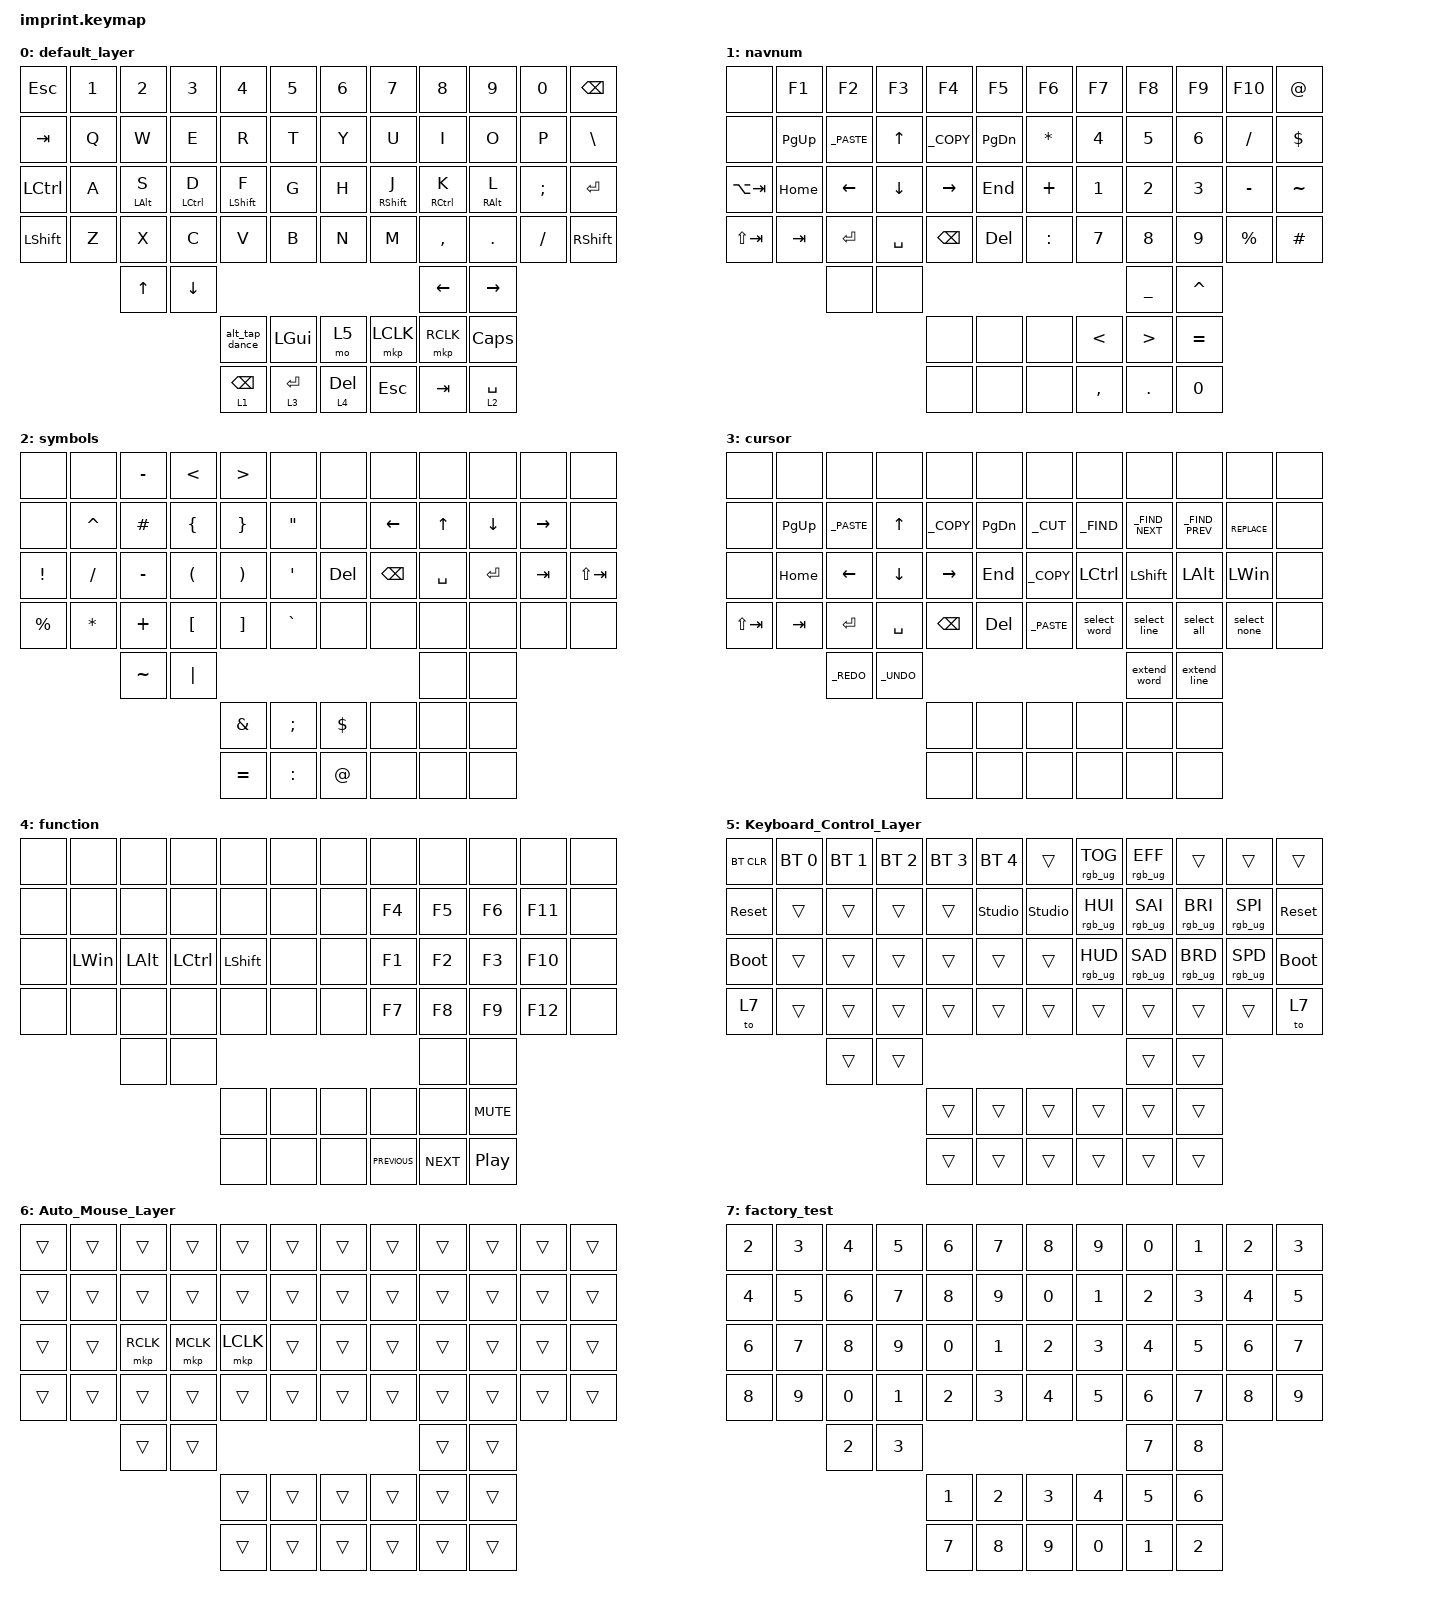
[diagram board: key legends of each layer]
#include <input/processors.dtsi>
#include <dt-bindings/zmk/input_transform.h>
#include <behaviors.dtsi>
#include <dt-bindings/zmk/bt.h>
#include <dt-bindings/zmk/keys.h>
#include <dt-bindings/zmk/pointing.h>
#include <dt-bindings/zmk/rgb.h>

#include "defs.dtsi"

/ {
    behaviors {
        home_row_mod_left: home_row_mod_left {
            compatible = "zmk,behavior-hold-tap";
            label = "HOME_ROW_MOD_LEFT";
            bindings = <&kp>, <&kp>;

            #binding-cells = <2>;
            tapping-term-ms = <200>;
            flavor = "tap-preferred";
            hold-trigger-key-positions = <5 6 7 8 9 16 17 18 19 20 21 28 29 30 31 32 33 40 41 42 43 44 45 56 57 58 59 60 61 62 63 72 73 74 75 76 77 78 79 55 38 37 36 35>;
        };

        home_row_mod_right: home_row_mod_right {
            compatible = "zmk,behavior-hold-tap";
            label = "HOME_ROW_MOD_RIGHT";
            bindings = <&kp>, <&kp>;

            #binding-cells = <2>;
            tapping-term-ms = <200>;
            flavor = "tap-preferred";
            hold-trigger-key-positions = <0 1 2 3 4 10 11 12 13 14 15 22 23 24 25 26 27 34 35 36 37 38 39 46 47 48 49 50 51 52 53 54 64 65 66 67 68 69 70 71 41 42 43 44>;
        };

        thumb_layer: thumb_layer {
            compatible = "zmk,behavior-hold-tap";
            label = "THUMB_LAYER";
            bindings = <&mo>, <&kp>;

            #binding-cells = <2>;
            tapping-term-ms = <200>;
            quick-tap-ms = <200>;
            flavor = "balanced";
        };
    };

    macros {
        //------------------------------------------------------------------------
        //
        // Cursor macros
        //
        //------------------------------------------------------------------------
        //
        // SELECT_WORD_DELAY defines how long the macro waits (milliseconds)
        // after moving the cursor before it selects a word.  A larger delay
        // may allow the macro to move to the next word upon each invocation.
        //

        #ifndef SELECT_WORD_DELAY
        #define SELECT_WORD_DELAY 1
        #endif

        #define select_all kp _C(A)

        ZMK_MACRO(

        select_none,
        wait-ms = <SELECT_WORD_DELAY>;
        tap-ms = <SELECT_WORD_DELAY>;
        bindings = <&kp DOWN &kp UP &kp RIGHT &kp LEFT>;

        )

        //
        // select a word (jumps to next word upon each successive invocation)
        //

        select_word: select_word {
            compatible = "zmk,behavior-mod-morph";
            #binding-cells = <0>;
            bindings = <&select_word_right>, <&select_word_left>;

            mods = <(MOD_LSFT|MOD_RSFT)>;
        };

        ZMK_MACRO(

        select_word_right,
        wait-ms = <SELECT_WORD_DELAY>;
        tap-ms = <SELECT_WORD_DELAY>;
        bindings = <&kp _WORD(RIGHT) &kp _WORD(LEFT) &kp _WORD(LS(RIGHT))>;

        )
        ZMK_MACRO(

        select_word_left,
        wait-ms = <SELECT_WORD_DELAY>;
        tap-ms = <SELECT_WORD_DELAY>;
        bindings = <&kp _WORD(LEFT) &kp _WORD(RIGHT) &kp _WORD(LS(LEFT))>;

        )

        //
        // extend current selection by one word
        //

        extend_word: extend_word {
            compatible = "zmk,behavior-mod-morph";
            #binding-cells = <0>;
            bindings = <&extend_word_right>, <&extend_word_left>;

            mods = <(MOD_LSFT|MOD_RSFT)>;
        };

        ZMK_MACRO(

        extend_word_right,
        wait-ms = <SELECT_WORD_DELAY>;
        tap-ms = <SELECT_WORD_DELAY>;
        bindings = <&kp _WORD(LS(RIGHT))>;

        )
        ZMK_MACRO(

        extend_word_left,
        wait-ms = <SELECT_WORD_DELAY>;
        tap-ms = <SELECT_WORD_DELAY>;
        bindings = <&kp _WORD(LS(LEFT))>;

        )

        //
        // select current line
        //

        select_line: select_line {
            compatible = "zmk,behavior-mod-morph";
            #binding-cells = <0>;
            bindings = <&select_line_right>, <&select_line_left>;

            mods = <(MOD_LSFT|MOD_RSFT)>;
        };

        ZMK_MACRO(

        select_line_right,
        wait-ms = <SELECT_WORD_DELAY>;
        tap-ms = <SELECT_WORD_DELAY>;
        bindings = <&kp _HOME &kp LS(_END)>;

        )
        ZMK_MACRO(

        select_line_left,
        wait-ms = <SELECT_WORD_DELAY>;
        tap-ms = <SELECT_WORD_DELAY>;
        bindings = <&kp _END &kp LS(_HOME)>;

        )

        //
        // extend current selection by one line
        //

        extend_line: extend_line {
            compatible = "zmk,behavior-mod-morph";
            #binding-cells = <0>;
            bindings = <&extend_line_right>, <&extend_line_left>;

            mods = <(MOD_LSFT|MOD_RSFT)>;
        };

        alt_tap_dance: alt_tap_dance {
            compatible = "zmk,behavior-tap-dance";
            label = "ALT_TAP_DANCE";
            #binding-cells = <0>;
            bindings = <&kp LEFT_ALT>, <&kp RIGHT_ALT>;
        };

        ZMK_MACRO(

        extend_line_right,
        wait-ms = <SELECT_WORD_DELAY>;
        tap-ms = <SELECT_WORD_DELAY>;
        bindings = <&kp LS(DOWN) &kp LS(_END)>;

        )
        ZMK_MACRO(

        extend_line_left,
        wait-ms = <SELECT_WORD_DELAY>;
        tap-ms = <SELECT_WORD_DELAY>;
        bindings = <&kp LS(UP) &kp LS(_HOME)>;

        )
    };

    combos {
        compatible = "zmk,combos";

        kl {
            bindings = <&kp UNDERSCORE>;
            key-positions = <43 42>;
            layers = <0 1>;
        };

        jk {
            bindings = <&kp UNDERSCORE>;
            key-positions = <41 42>;
        };
    };

    chosen { zmk,matrix-transform = &imprint_number_row;
    };

    keymap {
        compatible = "zmk,keymap";

        // 0
        default_layer {
            bindings = <
&kp ESCAPE        &kp N1  &kp N2                         &kp N3                             &kp N4                           &kp N5                                         &kp N6  &kp N7                             &kp N8                               &kp N9                           &kp N0    &kp BACKSPACE
&kp TAB           &kp Q   &kp W                          &kp E                              &kp R                            &kp T                                          &kp Y   &kp U                              &kp I                                &kp O                            &kp P     &kp BSLH
&kp LEFT_CONTROL  &kp A   &home_row_mod_left LEFT_ALT S  &home_row_mod_left LEFT_CONTROL D  &home_row_mod_left LEFT_SHIFT F  &kp G                                          &kp H   &home_row_mod_right RIGHT_SHIFT J  &home_row_mod_right RIGHT_CONTROL K  &home_row_mod_right RIGHT_ALT L  &kp SEMI  &kp ENTER
&kp LEFT_SHIFT    &kp Z   &kp X                          &kp C                              &kp V                            &kp B                                          &kp N   &kp M                              &kp COMMA                            &kp DOT                          &kp FSLH  &kp RIGHT_SHIFT
                          &kp UP_ARROW                   &kp DOWN_ARROW                                                                                                                                                &kp LEFT_ARROW                       &kp RIGHT_ARROW
                                                                                            &alt_tap_dance            &kp LEFT_GUI          &mo 5                                           &mkp LCLK   &mkp RCLK  &kp CAPS
                                                                                            &thumb_layer 1 BACKSPACE  &thumb_layer 3 ENTER  &thumb_layer 4 DELETE                           &kp ESCAPE  &kp TAB    &thumb_layer 2 SPACE
            >;
        };

        //1
        navnum {
            bindings = <
&none        &kp F1     &kp F2      &kp F3     &kp F4         &kp F5                                                                       &kp F6        &kp F7  &kp F8          &kp F9      &kp F10      &kp AT
&none        &kp PG_UP  &kp _PASTE  &kp UP     &kp _COPY      &kp PG_DN                                                                    &kp ASTERISK  &kp N4  &kp N5          &kp N6      &kp SLASH    &kp DOLLAR
&kp LA(TAB)  &kp HOME   &kp LEFT    &kp DOWN   &kp RIGHT      &kp END                                                                      &kp PLUS      &kp N1  &kp N2          &kp N3      &kp MINUS    &kp TILDE
&kp LS(TAB)  &kp TAB    &kp ENTER   &kp SPACE  &kp BACKSPACE  &kp DELETE                                                                   &kp COLON     &kp N7  &kp N8          &kp N9      &kp PERCENT  &kp HASH
                        &none       &none                                                                                                                        &kp UNDERSCORE  &kp CARET
                                                                          &none  &none  &none  &kp LESS_THAN  &kp GREATER_THAN  &kp EQUAL
                                                                          &none  &none  &none  &kp COMMA      &kp PERIOD        &kp N0
            >;
        };

        // 2
        symbols {
            bindings = <
&none            &none         &kp MINUS  &kp LESS_THAN         &kp GREATER_THAN       &none                                                                         &none       &none          &none      &none      &none      &none
&none            &kp CARET     &kp HASH   &kp LEFT_BRACE        &kp RIGHT_BRACE        &kp DOUBLE_QUOTES                                                             &none       &kp LEFT       &kp UP     &kp DOWN   &kp RIGHT  &none
&kp EXCLAMATION  &kp SLASH     &kp MINUS  &kp LEFT_PARENTHESIS  &kp RIGHT_PARENTHESIS  &kp SINGLE_QUOTE                                                              &kp DELETE  &kp BACKSPACE  &kp SPACE  &kp ENTER  &kp TAB    &kp LS(TAB)
&kp PERCENT      &kp ASTERISK  &kp PLUS   &kp LEFT_BRACKET      &kp RIGHT_BRACKET      &kp GRAVE                                                                     &none       &none          &none      &none      &none      &none
                               &kp TILDE  &kp PIPE                                                                                                                                              &none      &none      
                                                                                                          &kp AMPERSAND  &kp SEMI   &kp DOLLAR  &none  &none  &none
                                                                                                          &kp EQUAL      &kp COLON  &kp AT      &none  &none  &none
            >;
        };

        // 3
        cursor {
            bindings = <
&none        &none      &none       &none      &none          &none                                                 &none       &none             &none           &none           &none         &none
&none        &kp PG_UP  &kp _PASTE  &kp UP     &kp _COPY      &kp PG_DN                                             &kp _CUT    &kp _FIND         &kp _FIND_NEXT  &kp _FIND_PREV  &kp _REPLACE  &none
&none        &kp HOME   &kp LEFT    &kp DOWN   &kp RIGHT      &kp END                                               &kp _COPY   &kp LEFT_CONTROL  &kp LEFT_SHIFT  &kp LEFT_ALT    &kp LEFT_WIN  &none
&kp LS(TAB)  &kp TAB    &kp ENTER   &kp SPACE  &kp BACKSPACE  &kp DELETE                                            &kp _PASTE  &select_word      &select_line    &select_all     &select_none  &none
                        &kp _REDO   &kp _UNDO                                                                                                     &extend_word    &extend_line
                                                                          &none  &none  &none  &none  &none  &none
                                                                          &none  &none  &none  &none  &none  &none
            >;
        };

        // 4
        function {
            bindings = <
&none  &none         &none         &none             &none           &none                                                                     &none  &none   &none   &none   &none    &none
&none  &none         &none         &none             &none           &none                                                                     &none  &kp F4  &kp F5  &kp F6  &kp F11  &none
&none  &kp LEFT_WIN  &kp LEFT_ALT  &kp LEFT_CONTROL  &kp LEFT_SHIFT  &none                                                                     &none  &kp F1  &kp F2  &kp F3  &kp F10  &none
&none  &none         &none         &none             &none           &none                                                                     &none  &kp F7  &kp F8  &kp F9  &kp F12  &none
                     &none         &none                                                                                                                      &none   &none
                                                                            &none  &none  &none  &none           &none       &kp C_MUTE
                                                                            &none  &none  &none  &kp C_PREVIOUS  &kp C_NEXT  &kp C_PLAY_PAUSE
            >;
        };

        // 5
        Keyboard_Control_Layer {
            bindings = <
 &bt BT_CLR    &bt BT_SEL 0 &bt BT_SEL 1 &bt BT_SEL 2 &bt BT_SEL 3 &bt BT_SEL 4                               &trans         &rgb_ug RGB_TOG  &rgb_ug RGB_EFF &trans          &trans          &trans
 &sys_reset    &trans       &trans       &trans       &trans       &studio_unlock                             &studio_unlock &rgb_ug RGB_HUI  &rgb_ug RGB_SAI &rgb_ug RGB_BRI &rgb_ug RGB_SPI &sys_reset
 &bootloader   &trans       &trans       &trans       &trans       &trans                                     &trans         &rgb_ug RGB_HUD  &rgb_ug RGB_SAD &rgb_ug RGB_BRD &rgb_ug RGB_SPD &bootloader
 &to 7         &trans       &trans       &trans       &trans       &trans                                     &trans         &trans           &trans          &trans          &trans          &to 7
                            &trans       &trans                                                                                               &trans          &trans
                                                                      &trans  &trans &trans        &trans &trans &trans
                                                                      &trans  &trans &trans        &trans &trans &trans
            >;
        };

        // 6
        Auto_Mouse_Layer {
            bindings = <
 &trans  &trans  &trans  &trans  &trans  &trans                                     &trans  &trans  &trans  &trans  &trans  &trans
 &trans  &trans  &trans  &trans  &trans  &trans                                     &trans  &trans  &trans  &trans  &trans  &trans
 &trans  &trans  &mkp RCLK  &mkp MCLK  &mkp LCLK  &trans                            &trans  &trans  &trans  &trans  &trans  &trans
 &trans  &trans  &trans  &trans  &trans  &trans                                     &trans  &trans  &trans  &trans  &trans  &trans
                 &trans  &trans                                                                     &trans  &trans
                                         &trans  &trans &trans        &trans &trans &trans
                                         &trans  &trans &trans        &trans &trans &trans
            >;
        };

        // 7
        factory_test {
            bindings = <
&kp N2  &kp N3  &kp N4  &kp N5  &kp N6  &kp N7            &kp N8  &kp N9  &kp N0  &kp N1  &kp N2  &kp N3
&kp N4  &kp N5  &kp N6  &kp N7  &kp N8  &kp N9            &kp N0  &kp N1  &kp N2  &kp N3  &kp N4  &kp N5
&kp N6  &kp N7  &kp N8  &kp N9  &kp N0  &kp N1            &kp N2  &kp N3  &kp N4  &kp N5  &kp N6  &kp N7
&kp N8  &kp N9  &kp N0  &kp N1  &kp N2  &kp N3            &kp N4  &kp N5  &kp N6  &kp N7  &kp N8  &kp N9
                            &kp N2  &kp N3                                                                    &kp N7  &kp N8
                                &kp N1  &kp N2  &kp N3    &kp N4  &kp N5  &kp N6
                                &kp N7  &kp N8  &kp N9    &kp N0  &kp N1  &kp N2
            >;
        };
    };
};

// right hand trackball configuration

&trackball_peripheral_listener {
   input-processors =
    // activate layer 3 within 500ms of the trackball moving
    <&zip_temp_layer 6 500>;
};

//left hand trackball configuration

&trackball_central_listener {
    input-processors =
        // multiply sensitivity by 1, divide by 3 (make it slower for scrolling),
        <&zip_y_scaler 1 4>,
        <&zip_x_scaler 0 1>,
        // make this trackball output scrolling events by default instead of cursor movement,
        <&zip_xy_to_scroll_mapper>,
        // invert vertical scrolling so that the view moves in the same direction as the top of the trackball.,
        <&zip_scroll_transform INPUT_TRANSFORM_Y_INVERT>;
};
